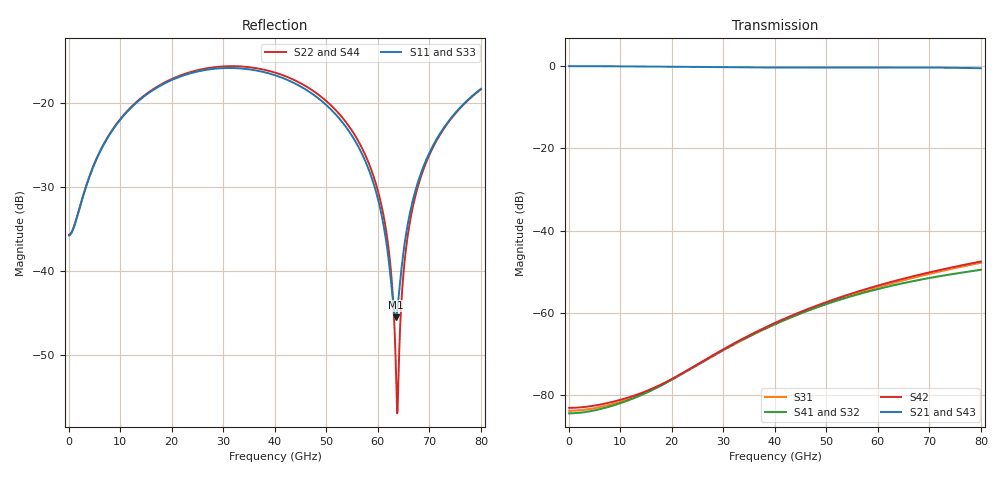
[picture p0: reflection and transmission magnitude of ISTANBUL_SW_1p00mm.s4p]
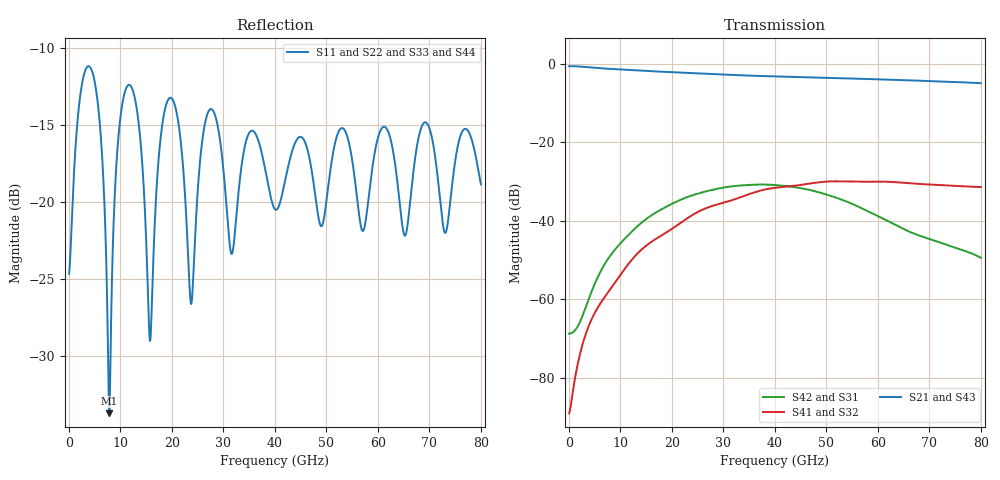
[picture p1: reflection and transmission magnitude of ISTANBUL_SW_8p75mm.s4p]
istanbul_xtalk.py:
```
"""Istanbul slow-wave pair (T period 200 um, line spacing 625 um), CST 3-D
4-ports at 1 mm and 8.75 mm. Ports: 1 A near, 2 A far, 3 B near, 4 B far.
1. NEXT = S31, FEXT = S41 of both runs; data floor |S21 - S43|.
2. Naive cascade: the 1 mm block raised to the power 8.75, per even/odd mode
   (2-port ABCD = [[cosh t, Z sinh t],[sinh t / Z, cosh t]] with t continued in
   frequency), then NEXT = (S11e - S11o)/2, FEXT = (S21e - S21o)/2 at 50 ohm.
   The port regions are repeated 8.75 times, as in any naive cascade.
3. Two-length de-embedding (7.75 mm of line): gamma_e, gamma_o -> n_e, n_o,
   dn, loss of the slow-wave line itself."""
import sys, numpy as np, matplotlib; matplotlib.use("Agg"); import matplotlib.pyplot as plt
sys.path.insert(0, "..")
from first_look_lib import load4
c, R0 = 299792458, 50.0
f, S1 = load4("ISTANBUL_SW_1p00mm.s4p"); f8, S8 = load4("ISTANBUL_SW_8p75mm.s4p")
assert np.allclose(f, f8)
k = slice(1, None); F = f/1e9; w = 2*np.pi*f
db = lambda x: 20*np.log10(np.abs(x) + 1e-30)
def mode(S, sgn):
    M = np.empty((len(S), 2, 2), complex)
    for i, (a, a2) in enumerate(((0, 2), (1, 3))):
        for j, (b, b2) in enumerate(((0, 2), (1, 3))):
            M[:, i, j] = S[:, a, b] + sgn*S[:, a, b2]
    return M
def s2abcd(S):
    s11, s12, s21, s22 = S[:, 0, 0], S[:, 0, 1], S[:, 1, 0], S[:, 1, 1]
    A = ((1+s11)*(1-s22)+s12*s21)/(2*s21); B = R0*((1+s11)*(1+s22)-s12*s21)/(2*s21)
    C = ((1-s11)*(1-s22)-s12*s21)/(2*s21)/R0; D = ((1-s11)*(1+s22)+s12*s21)/(2*s21)
    return A, B, C, D
def abcd2s(A, B, C, D):
    d = A + B/R0 + C*R0 + D
    return (A + B/R0 - C*R0 - D)/d, 2/d
def power(S, n):
    """2-port raised to the power n (symmetric, reciprocal): A = cosh t."""
    A, B, C, D = s2abcd(S)
    Am = (A + D)/2
    r = np.sqrt(Am*Am - 1 + 0j); y = Am - r; y = np.where(abs(y) > 1, Am + r, y)   # e^{-t}
    t = -np.log(np.abs(y)) - 1j*np.unwrap(np.angle(y))                              # continued
    Z = np.sqrt(B/C); Z = np.where(Z.real < 0, -Z, Z)
    return abcd2s(np.cosh(n*t), Z*np.sinh(n*t), np.sinh(n*t)/Z, np.cosh(n*t))
casc = {}
for sgn, nm in ((+1, "e"), (-1, "o")):
    casc[nm] = power(mode(S1, sgn), 8.75)
NEXTc = 0.5*(casc["e"][0] - casc["o"][0]); FEXTc = 0.5*(casc["e"][1] - casc["o"][1])
# de-embedded line (7.75 mm)
def gamma(Sa, Sb, L):
    out = {}
    for sgn, nm in ((+1, "e"), (-1, "o")):
        Ta = np.array(s2abcd(mode(Sa, sgn))).T.reshape(-1, 2, 2)
        Tb = np.array(s2abcd(mode(Sb, sgn))).T.reshape(-1, 2, 2)
        T = np.linalg.solve(Ta, Tb); Am = (T[:, 0, 0] + T[:, 1, 1])/2
        r = np.sqrt(Am*Am - 1 + 0j); y = Am - r; y = np.where(abs(y) > 1, Am + r, y)
        out[nm] = -np.log(np.abs(y))/L - 1j*np.unwrap(np.angle(y))/L
    return out
g = gamma(S1, S8, 7.75e-3)
ne, no = g["e"].imag*c/w, g["o"].imag*c/w
ale = g["e"].real*20/np.log(10)/100
rows = []
print(" GHz | NEXT 1mm  8.75mm  casc | FEXT 1mm  8.75mm  casc | n_e     n_o      dn       | alpha_e dB/cm")
for x in (5, 10, 20, 30, 40, 50, 60, 70):
    i = np.argmin(abs(F - x))
    print(f"{F[i]:4.0f} | {db(S1[i,2,0]):6.1f} {db(S8[i,2,0]):7.1f} {db(NEXTc[i]):6.1f} | "
          f"{db(S1[i,3,0]):6.1f} {db(S8[i,3,0]):7.1f} {db(FEXTc[i]):6.1f} | "
          f"{ne[i]:.4f}  {no[i]:.4f}  {ne[i]-no[i]:+.5f} | {ale[i]:.3f}")
np.savez("istanbul_results.npz", f=f, ge=g["e"], go=g["o"], NEXTc=NEXTc, FEXTc=FEXTc)
fig, ax = plt.subplots(1, 3, figsize=(16, 4.6))
for a, j, nm in ((ax[0], 2, "NEXT |S31|"), (ax[1], 3, "FEXT |S41|")):
    a.plot(F[k], db(S1[k, j, 0]), color="#8a93a5", lw=1.3, label="CST 1 mm")
    a.plot(F[k], db(S8[k, j, 0]), "k", lw=2, label="CST 8.75 mm")
    a.plot(F[k], db((NEXTc if j == 2 else FEXTc)[k]), "C3--", lw=1.6, label="1 mm cascaded x 8.75")
    a.set_title(f"Istanbul slow-wave pair, {nm}"); a.set_ylim(-110, -20); a.set_ylabel("dB")
a = ax[2]
a.plot(F[k], (ne - no)[k]*1e3, "k"); a.set_ylabel("n_e - n_o  (x 1e-3)")
a.set_title("de-embedded index split (7.75 mm)"); a.set_ylim(-20, 20)
for a in ax: a.grid(alpha=.3); a.set_xlabel("frequency (GHz)")
ax[0].legend(fontsize=8)
fig.tight_layout(); fig.savefig("istanbul_xtalk.png", dpi=120)
```
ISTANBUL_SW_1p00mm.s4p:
! TOUCHSTONE file generated by CST MICROWAVE STUDIO
! Date and time: Wed Oct 21 13:39:17 2026
! Project name: TEST0_XTALK_SW_1mm.cst
! Parameters = {L=1; L1=0.01; L2=0.076; PITCH=0.2; START_POSITION=0.075; W1=0.002; W2=0.022; gap=0.00415; interaxis=0.625; ln_thickness=0.000275; mtx=0.002; si_thickness=0.3; sio2_thickness=0.0047; w=1; wg=0.03; ws=0.01}
! Header version: 2024
! Port assignment regex: !\s*Touchstone port\s*([0-9]+)\s*=\s*(CST MWS port|CST DES external port|CST DES block port)\s*(.+)\s* \(\"(.*)\"\)(\s*mode\s*([0-9]+))?.*
! Touchstone port assignment:
! Touchstone port 1 = CST MWS port 1 ("")
! Touchstone port 2 = CST MWS port 2 ("")
! Touchstone port 3 = CST MWS port 3 ("")
! Touchstone port 4 = CST MWS port 4 ("")
# GHz S MA R 50
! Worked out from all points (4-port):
!   1000 points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, 80 MHz to 80 GHz, reference 50 ohm
!   strongest paths, dB at 80 MHz, 20.08 GHz, 40.08 GHz, 60.08 GHz, 80 GHz:
!     S21: -0.1, -0.3, -0.5, -0.4, -0.6
!     S43: -0.1, -0.3, -0.5, -0.4, -0.6
!     S42: -83.0, -75.9, -62.4, -53.3, -47.5
!     S41: -84.3, -76.1, -62.6, -54.2, -49.5
!     S32: -84.3, -76.1, -62.6, -54.2, -49.5
!     S31: -83.7, -76.1, -62.7, -53.7, -47.8
!   lowest |S11| = -45.5 dB at 63.44 GHz (marker M1), VSWR 1.01, Z = 50.5 + j0.0504 ohm
!   |S11| at or under -10 dB: start of sweep to end of sweep
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0.08  0.01632 2.1  0.9835 -0.2  6.532e-05 178.9  6.08e-05 -1.1
      0.9835 -0.2  0.01648 2.0  6.083e-05 -1.1  7.081e-05 178.9
      6.532e-05 178.9  6.083e-05 -1.1  0.01632 2.1  0.9835 -0.2
      6.08e-05 -1.1  7.081e-05 178.9  0.9835 -0.2  0.01648 2.0
63.44  0.005305 5.4  0.9501 -175.9  0.002356 -51.4  0.002196 127.5
       0.9501 -175.9  0.003063 -76.1  0.002196 127.5  0.002464 -50.1
       0.002356 -51.4  0.002196 127.5  0.005304 5.4  0.9501 -175.9
       0.002196 127.5  0.002464 -50.1  0.9501 -175.9  0.003063 -76.1
80  0.1222 54.5  0.9283 136.9  0.004067 -173.7  0.003344 -1.2
    0.9283 136.9  0.1214 31.7  0.003344 -1.1  0.004218 -171.9
    0.004067 -173.7  0.003344 -1.1  0.1222 54.5  0.9283 136.9
    0.003344 -1.2  0.004218 -171.9  0.9283 136.9  0.1214 31.7
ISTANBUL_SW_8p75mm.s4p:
! TOUCHSTONE file generated by CST MICROWAVE STUDIO
! Date and time: Wed Oct 21 13:38:43 2026
! Project name: TEST0_XTALK_SW.cst
! Parameters = {START_POSITION=0.075; W1=0.002; L1=0.01; W2=0.022; L2=0.076; PITCH=0.2; L=8.75; gap=0.00415; interaxis=0.625; ln_thickness=0.000275; mtx=0.002; si_thickness=0.3; sio2_thickness=0.0047; w=1; wg=0.03; ws=0.01}
! Header version: 2024
! Port assignment regex: !\s*Touchstone port\s*([0-9]+)\s*=\s*(CST MWS port|CST DES external port|CST DES block port)\s*(.+)\s* \(\"(.*)\"\)(\s*mode\s*([0-9]+))?.*
! Touchstone port assignment:
! Touchstone port 1 = CST MWS port 1 ("")
! Touchstone port 2 = CST MWS port 2 ("")
! Touchstone port 3 = CST MWS port 3 ("")
! Touchstone port 4 = CST MWS port 4 ("")
# GHz S MA R 50
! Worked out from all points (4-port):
!   1000 points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, 80 MHz to 80 GHz, reference 50 ohm
!   strongest paths, dB at 80 MHz, 20.08 GHz, 40.08 GHz, 60.08 GHz, 80 GHz:
!     S21: -0.6, -2.1, -3.2, -4.0, -5.0
!     S43: -0.6, -2.1, -3.2, -4.0, -5.0
!     S41: -89.1, -42.0, -31.6, -30.0, -31.4
!     S32: -89.1, -42.0, -31.6, -30.0, -31.4
!     S42: -68.8, -35.7, -30.9, -38.9, -49.5
!     S31: -68.8, -35.7, -30.9, -38.9, -49.5
!   lowest |S11| = -33.7 dB at 7.84 GHz (marker M1), VSWR 1.04, Z = 52 - j0.677 ohm
!   |S11| at or under -10 dB: start of sweep to end of sweep
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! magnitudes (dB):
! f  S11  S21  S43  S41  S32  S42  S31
! 80 MHz  -24.7  -0.6  -0.6  -89.1  -89.1  -68.8  -68.8
! 7.84 GHz  -33.7  -1.3  -1.3  -57.9  -57.9  -49.3  -49.3
! 80 GHz  -18.8  -5.0  -5.0  -31.4  -31.4  -49.5  -49.5
